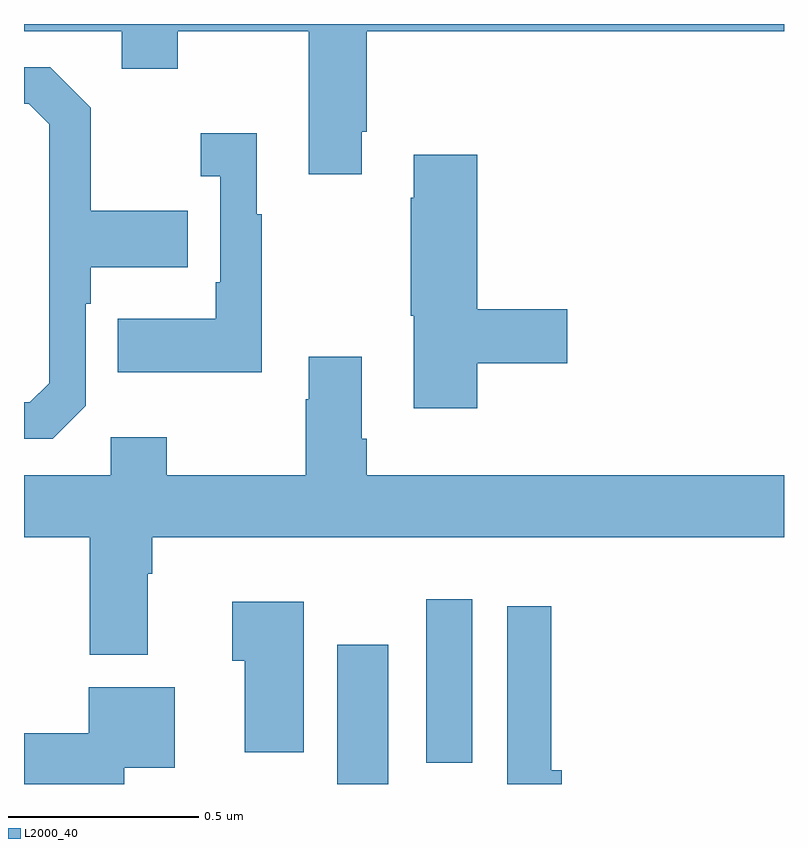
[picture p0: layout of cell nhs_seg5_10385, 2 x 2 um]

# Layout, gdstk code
import gdstk
lib = gdstk.Library(unit=1e-6, precision=1e-09)
def R(c, l, rs):  # rectangles x0, y0, x1, y1
    for r in rs: c.add(gdstk.rectangle(r[:2], r[2:], *l))
def P(c, l, *ps):  # polygons
    for p in ps: c.add(gdstk.Polygon(p, *l))
L2000_40 = (2000, 40)

nhs_seg5_10385 = lib.new_cell('nhs_seg5_10385')
R(nhs_seg5_10385, L2000_40, [(246.824,834.799,246.958,835.165), (247.058,834.855,247.18,835.285)])
P(nhs_seg5_10385, L2000_40, [(246.889,836.515),(246.902,836.515),(246.902,836.78),(248,836.78),(248,836.799),(246,836.799),(246,836.78),(246.257,836.78),(246.257,836.681),(246.405,836.681),(246.405,836.78),(246.749,836.78),(246.749,836.403),(246.889,836.403)],
  [(246.162,835.794),(246.162,836.063),(246.175,836.063),(246.175,836.159),(246.431,836.159),(246.431,836.307),(246.175,836.307),(246.175,836.579),(246.069,836.685),(246,836.685),(246,836.589),(246.012,836.589),(246.066,836.535),(246.066,835.854),(246.015,835.803),(246,835.803),(246,835.707),(246.075,835.707)],
  [(246.625,836.299),(246.613,836.299),(246.613,836.512),(246.465,836.512),(246.465,836.399),(246.516,836.399),(246.516,836.119),(246.504,836.119),(246.504,836.023),(246.247,836.023),(246.247,835.883),(246.625,835.883)],
  [(247.193,835.906),(247.429,835.906),(247.429,836.048),(247.193,836.048),(247.193,836.455),(247.025,836.455),(247.025,836.342),(247.018,836.342),(247.018,836.031),(247.025,836.031),(247.025,835.788),(247.193,835.788)],
  [(246.325,835.352),(246.338,835.352),(246.338,835.448),(248,835.448),(248,835.612),(246.902,835.612),(246.902,835.708),(246.889,835.708),(246.889,835.924),(246.749,835.924),(246.749,835.811),(246.742,835.811),(246.742,835.612),(246.375,835.612),(246.375,835.711),(246.228,835.711),(246.228,835.612),(246,835.612),(246,835.448),(246.173,835.448),(246.173,835.139),(246.325,835.139)],
  [(246.736,835.279),(246.548,835.279),(246.548,835.123),(246.581,835.123),(246.581,834.882),(246.736,834.882)],
  [(247.415,834.835),(247.388,834.835),(247.388,835.267),(247.272,835.267),(247.272,834.799),(247.415,834.799)],
  [(246.264,834.842),(246.397,834.842),(246.397,835.054),(246.17,835.054),(246.17,834.932),(246,834.932),(246,834.799),(246.264,834.799)])

lib.write_gds('nhs_seg5_10385.gds')
